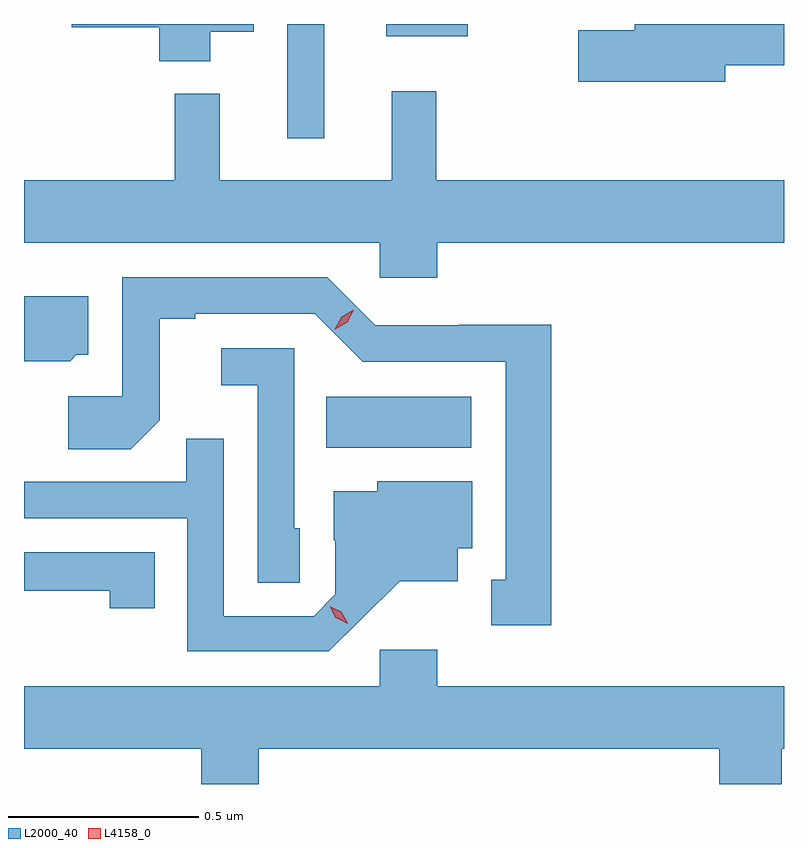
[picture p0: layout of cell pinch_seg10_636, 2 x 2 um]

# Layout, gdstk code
import gdstk
lib = gdstk.Library(unit=1e-6, precision=1e-09)
def R(c, l, rs):  # rectangles x0, y0, x1, y1
    for r in rs: c.add(gdstk.rectangle(r[:2], r[2:], *l))
def P(c, l, *ps):  # polygons
    for p in ps: c.add(gdstk.Polygon(p, *l))
L2000_40 = (2000, 40)
L4158_0 = (4158, 0)

pinch_seg10_636 = lib.new_cell('pinch_seg10_636')
R(pinch_seg10_636, L2000_40, [(390.67,1271.804,391.051,1271.938), (390.567,1272.618,390.664,1272.919), (390.827,1272.887,391.042,1272.919)])
P(pinch_seg10_636, L2000_40, [(390.364,1272.899),(390.478,1272.899),(390.478,1272.919),(390,1272.919),(390,1272.91),(390.23,1272.91),(390.23,1272.821),(390.364,1272.821)],
  [(391.72,1272.81),(391.874,1272.81),(391.874,1272.919),(391.481,1272.919),(391.481,1272.902),(391.332,1272.902),(391.332,1272.767),(391.72,1272.767)],
  [(390.962,1272.344),(391.874,1272.344),(391.874,1272.508),(390.959,1272.508),(390.959,1272.742),(390.842,1272.742),(390.842,1272.508),(390.389,1272.508),(390.389,1272.736),(390.271,1272.736),(390.271,1272.508),(389.874,1272.508),(389.874,1272.344),(390.81,1272.344),(390.81,1272.251),(390.962,1272.251)],
  [(391.261,1272.128),(391.02,1272.128),(391.02,1272.126),(390.798,1272.126),(390.672,1272.252),(390.132,1272.252),(390.132,1271.94),(389.991,1271.94),(389.991,1271.8),(390.155,1271.8),(390.231,1271.876),(390.231,1272.144),(390.325,1272.144),(390.325,1272.156),(390.639,1272.156),(390.765,1272.03),(391.142,1272.03),(391.142,1271.457),(391.103,1271.457),(391.103,1271.337),(391.261,1271.337)],
  [(390.012,1272.048),(390.043,1272.048),(390.043,1272.202),(389.874,1272.202),(389.874,1272.032),(389.996,1272.032)],
  [(390.6,1271.592),(390.585,1271.592),(390.585,1272.066),(390.393,1272.066),(390.393,1271.969),(390.489,1271.969),(390.489,1271.449),(390.6,1271.449)],
  [(390.76,1271.351),(390.863,1271.453),(391.015,1271.453),(391.015,1271.54),(391.054,1271.54),(391.054,1271.716),(390.804,1271.716),(390.804,1271.689),(390.689,1271.689),(390.689,1271.56),(390.693,1271.56),(390.693,1271.418),(390.636,1271.361),(390.399,1271.361),(390.399,1271.828),(390.301,1271.828),(390.301,1271.715),(389.874,1271.715),(389.874,1271.619),(390.303,1271.619),(390.303,1271.268),(390.676,1271.268)],
  [(390.218,1271.529),(389.874,1271.529),(389.874,1271.428),(390.1,1271.428),(390.1,1271.382),(390.218,1271.382)],
  [(390.492,1271.012),(391.703,1271.012),(391.703,1270.919),(391.868,1270.919),(391.868,1271.012),(391.874,1271.012),(391.874,1271.176),(390.962,1271.176),(390.962,1271.272),(390.81,1271.272),(390.81,1271.176),(389.874,1271.176),(389.874,1271.012),(390.341,1271.012),(390.341,1270.919),(390.492,1270.919)])
P(pinch_seg10_636, L4158_0, [(390.692,1272.116),(390.692,1272.116),(390.71,1272.148),(390.742,1272.167),(390.742,1272.167),(390.742,1272.167),(390.725,1272.134),(390.693,1272.116)],
  [(390.726,1271.341),(390.695,1271.357),(390.678,1271.387),(390.678,1271.387),(390.678,1271.387),(390.709,1271.372),(390.726,1271.342),(390.726,1271.341)])

lib.write_gds('pinch_seg10_636.gds')
